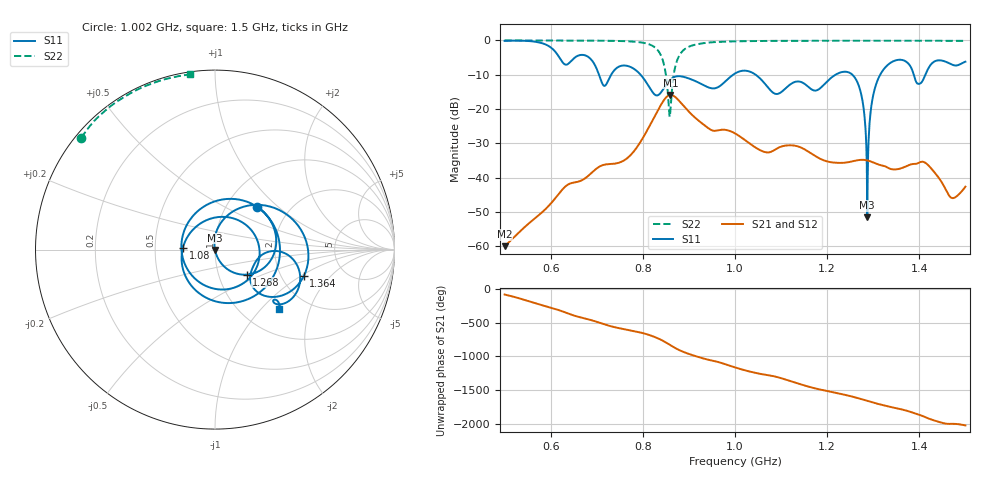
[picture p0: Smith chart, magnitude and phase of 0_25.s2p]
! TOUCHSTONE file generated by CST MICROWAVE STUDIO
! Date and time: Sat Oct 24 10:46:18 2020
! Project name: Scenario_1_Planar_Body_Tissue_Center.cst
! Parameters = {hfat=3; hmuscle=50; hskin=1.5; hgap=25; Wtissue=700; Ltissue=700; L_HA=400; MT=2.54; Rad_Dielectric=30; Rad_Lower=7.3; Rad_Upper=30; a_HA=580; a_WG=246; b_HA=500; b_WG=121; c_HA=0; c_WG=187; d_feed=85; dx1=588.68; h_feed=15; h_lower=18; h_upper=40}
! Header version: 2018
! Port assignment regex: !\s*Touchstone port\s*([0-9]+)\s*=\s*(CST MWS port|CST DS port)\s*([0-9]+|Zmin|Zmax)\s*\(\"(.*)\"\)(\s*mode\s*([0-9]+))?.*
! Touchstone port assignment:
! Touchstone port 1 = CST MWS port 1 ("")
! Touchstone port 2 = CST MWS port 2 ("")
# GHz S DB R 50
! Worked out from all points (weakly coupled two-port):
!   1003 points, 500 MHz to 1.5 GHz, reference 50 ohm
!   highest |S21| = -15.90 dB at 860 MHz (marker M1); lowest = -60.0 dB at 500 MHz (marker M2)
!   lowest |S11| = -51.5 dB at 1.287 GHz (marker M3), VSWR 1.01, Z = 50 - j0.264 ohm
!   |S11| at or under -10 dB: 795.1 MHz to 996 MHz (200.9 MHz wide, 22.4 % of centre); 1.045 GHz to 1.218 GHz (173.5 MHz wide, 15.3 % of centre); 1.255 GHz to 1.315 GHz (60.43 MHz wide, 4.7 % of centre) (the widest 3 of 5)
!   |S22| runs from -22.2 to 0.0 dB; largest |S21 - S12| = 1.1e-05
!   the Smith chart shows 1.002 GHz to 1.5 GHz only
!   S11 on the Smith chart (normalised r, x): 1.002 GHz: 1.38, +0.74; 1.08 GHz: 0.70, +0.02; 1.268 GHz: 1.36, -0.40; 1.364 GHz: 2.65, -1.06; 1.5 GHz: 1.46, -1.28
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0.5  -0.13 -122.5  -60.02 -82.7  -60.02 -82.7  -0.01 151.2
0.667  -4.21 149.0  -40.83 -65.4  -40.84 -65.4  -0.04 138.4
0.707  -10.83 29.7  -36.72 -143.4  -36.72 -143.4  -0.07 134.0
0.749  -7.59 178.3  -35.63 137.8  -35.63 137.8  -0.17 127.7
0.783  -8.50 99.1  -31.94 92.7  -31.94 92.7  -0.39 119.5
0.834  -15.90 -89.3  -20.07 -16.4  -20.07 -16.4  -3.13 84.6
0.86  -11.41 153.5  -15.90 -115.3  -15.90 -115.3  -20.03 -91.2
0.896  -10.92 36.7  -20.24 125.7  -20.24 125.7  -2.09 170.9
0.964  -13.58 173.1  -26.19 -4.5  -26.19 -4.5  -0.43 146.0
1  -9.65 51.3  -27.12 -83.4  -27.12 -83.4  -0.27 140.3
1.002  -9.49 45.5  -27.27 -87.7  -27.27 -87.7  -0.26 140.1
1.044  -9.93 -67.2  -31.20 -164.1  -31.20 -164.1  -0.17 135.1
1.08  -14.95 176.3  -32.39 151.1  -32.39 151.1  -0.13 131.5
1.13  -12.11 -1.0  -30.71 52.7  -30.71 52.7  -0.11 127.2
1.167  -14.35 -135.0  -33.12 -22.8  -33.12 -22.8  -0.10 124.2
1.212  -10.56 72.5  -35.60 -90.9  -35.60 -90.9  -0.09 120.8
1.268  -12.98 -38.5  -34.91 178.3  -34.91 178.3  -0.08 116.5
1.287  -51.54 -86.8  -35.00 139.3  -35.00 139.3  -0.08 115.1
1.303  -14.24 71.2  -35.76 108.0  -35.76 108.0  -0.08 113.9
1.334  -6.87 24.0  -37.30 53.9  -37.30 53.9  -0.09 111.5
1.364  -5.74 -16.5  -37.14 9.8  -37.14 9.8  -0.09 109.2
1.5  -6.20 -42.9  -42.66 135.4  -42.66 135.4  -0.12 98.0
